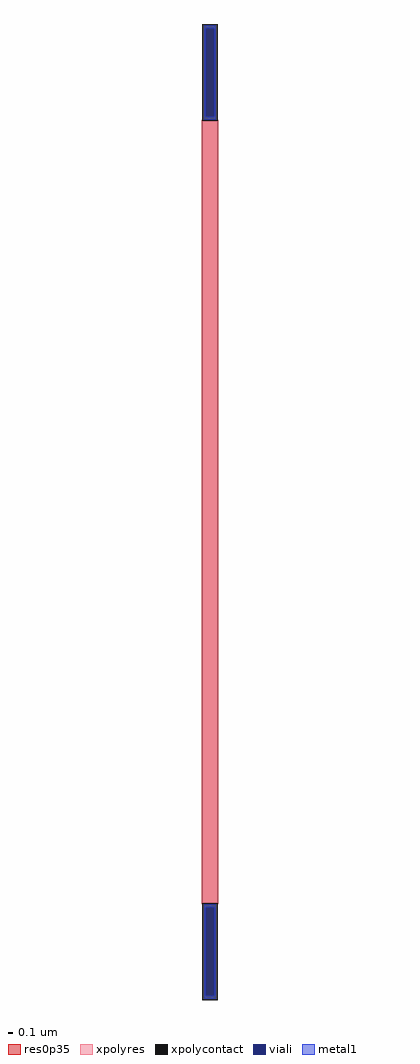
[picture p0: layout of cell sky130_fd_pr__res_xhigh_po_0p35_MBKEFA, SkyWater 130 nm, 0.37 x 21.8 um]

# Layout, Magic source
magic
tech sky130A
magscale 1 2
<< xpolycontact >>
rect -35 1748 35 2180
rect -35 -2180 35 -1748
<< xpolyres >>
rect -35 -1748 35 1748
<< viali >>
rect -19 1765 19 2162
rect -19 -2162 19 -1765
<< metal1 >>
rect -25 2162 25 2174
rect -25 1765 -19 2162
rect 19 1765 25 2162
rect -25 1753 25 1765
rect -25 -1765 25 -1753
rect -25 -2162 -19 -1765
rect 19 -2162 25 -1765
rect -25 -2174 25 -2162
<< res0p35 >>
rect -37 -1750 37 1750
<< properties >>
string gencell sky130_fd_pr__res_xhigh_po_0p35
string parameters w 0.350 l 17.48 m 1 nx 1 wmin 0.350 lmin 0.50 rho 2000 val 99.995k dummy 0 dw 0.0 term 19.188 sterm 0.0 caplen 0 wmax 0.350 guard 0 glc 1 grc 1 gtc 1 gbc 1 compatible {sky130_fd_pr__res_xhigh_po_0p35  sky130_fd_pr__res_xhigh_po_0p69 sky130_fd_pr__res_xhigh_po_1p41  sky130_fd_pr__res_xhigh_po_2p85 sky130_fd_pr__res_xhigh_po_5p73} full_metal 1 n_guard 0 hv_guard 0 vias 1 viagb 0 viagt 0 viagl 0 viagr 0
string library sky130
<< end >>
